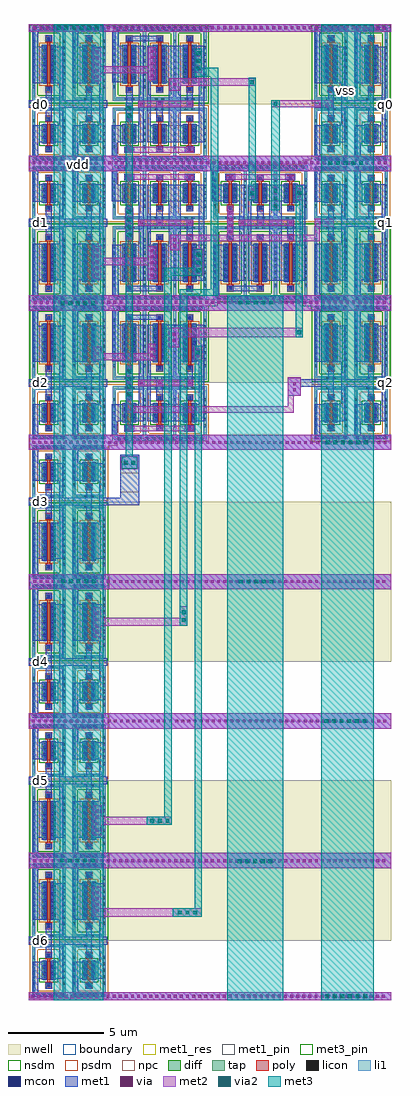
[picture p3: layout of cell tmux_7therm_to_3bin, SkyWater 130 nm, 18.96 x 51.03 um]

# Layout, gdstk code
import gdstk
lib = gdstk.Library(unit=1e-6, precision=1e-09)
def R(c, l, rs):  # rectangles x0, y0, x1, y1
    for r in rs: c.add(gdstk.rectangle(r[:2], r[2:], *l))
def A(c, l, x, y, w, h, nx, ny, dx, dy):  # array of equal rectangles
    R(c, l, [(x+i*dx, y+j*dy, x+i*dx+w, y+j*dy+h) for i in range(nx) for j in range(ny)])
nwell = (64, 20)
diff = (65, 20)
tap = (65, 44)
poly = (66, 20)
licon = (66, 44)
li1 = (67, 20)
mcon = (67, 44)
met1_res = (68, 13)
met1_pin = (68, 16)
met1 = (68, 20)
via = (68, 44)
met2 = (69, 20)
via2 = (69, 44)
met3_pin = (70, 16)
met3 = (70, 20)
nsdm = (93, 44)
psdm = (94, 20)
npc = (95, 20)
boundary = (235, 4)

sky130_fd_pr__pfet_01v8_ = lib.new_cell('sky130_fd_pr__pfet_01v8_A6MZLZ')
R(sky130_fd_pr__pfet_01v8_, nwell, [(-1.055,-2.095,1.055,2.095)])
R(sky130_fd_pr__pfet_01v8_, diff, [(-0.365,-1,0.365,1)])
R(sky130_fd_pr__pfet_01v8_, tap, [(-0.875,-1.915,0.875,-1.745), (-0.875,-1.745,-0.705,1.745), (0.705,-1.745,0.875,1.745), (-0.875,1.745,0.875,1.915)])
R(sky130_fd_pr__pfet_01v8_, poly, [(-0.165,-1.485,0.165,-1.155), (-0.075,-1.155,0.075,1.155), (-0.165,1.155,0.165,1.485)])
A(sky130_fd_pr__pfet_01v8_, licon, -0.875, -1.275, 0.17, 0.17, 1, 8, 0, 0.34)
A(sky130_fd_pr__pfet_01v8_, licon, 0.705, -1.275, 0.17, 0.17, 1, 8, 0, 0.34)
A(sky130_fd_pr__pfet_01v8_, licon, -0.305, -0.935, 0.17, 0.17, 1, 6, 0, 0.34)
A(sky130_fd_pr__pfet_01v8_, licon, 0.135, -0.935, 0.17, 0.17, 1, 6, 0, 0.34)
R(sky130_fd_pr__pfet_01v8_, licon, [(-0.255,-1.915,-0.085,-1.745), (0.085,-1.915,0.255,-1.745), (-0.085,-1.405,0.085,-1.235), (-0.085,1.235,0.085,1.405), (-0.255,1.745,-0.085,1.915), (0.085,1.745,0.255,1.915)])
R(sky130_fd_pr__pfet_01v8_, li1, [(-0.875,-1.915,0.875,-1.745), (-0.875,-1.745,-0.705,1.745), (0.705,-1.745,0.875,1.745), (-0.165,-1.405,0.165,-1.235), (-0.305,-1.02,-0.135,1.02), (0.135,-1.02,0.305,1.02), (-0.165,1.235,0.165,1.405), (-0.875,1.745,0.875,1.915)])
A(sky130_fd_pr__pfet_01v8_, mcon, -0.305, -0.805, 0.17, 0.17, 1, 5, 0, 0.36)
A(sky130_fd_pr__pfet_01v8_, mcon, 0.135, -0.805, 0.17, 0.17, 1, 5, 0, 0.36)
R(sky130_fd_pr__pfet_01v8_, mcon, [(-0.085,-1.405,0.085,-1.235), (-0.085,1.235,0.085,1.405)])
R(sky130_fd_pr__pfet_01v8_, met1, [(-0.145,-1.435,0.145,-1.205), (-0.335,-1,-0.105,1), (0.105,-1,0.335,1), (-0.145,1.205,0.145,1.435)])
R(sky130_fd_pr__pfet_01v8_, nsdm, [(-1,-2.04,1,-1.62), (-1,-1.62,-0.58,1.62), (0.58,-1.62,1,1.62), (-1,1.62,1,2.04)])
R(sky130_fd_pr__pfet_01v8_, psdm, [(-0.49,-1.125,0.49,1.125)])
R(sky130_fd_pr__pfet_01v8_, npc, [(-0.185,-1.505,0.185,-1.135), (-0.185,1.135,0.185,1.505)])
R(sky130_fd_pr__pfet_01v8_, boundary, [(-0.79,-1.83,0.79,1.83)])
sky130_fd_pr__pfet_01v8_.add(gdstk.Label('B', (0,-1.83), layer=67, texttype=5))
sky130_fd_pr__pfet_01v8_.add(gdstk.Label('D', (-0.22,0), layer=67, texttype=5))
sky130_fd_pr__pfet_01v8_.add(gdstk.Label('S', (0.22,0), layer=67, texttype=5))
sky130_fd_pr__pfet_01v8_.add(gdstk.Label('G', (0,1.32), layer=67, texttype=5))

sky130_fd_pr__nfet_01v8_ = lib.new_cell('sky130_fd_pr__nfet_01v8_MH3LLV')
R(sky130_fd_pr__nfet_01v8_, diff, [(-0.365,-0.5,0.365,0.5)])
R(sky130_fd_pr__nfet_01v8_, tap, [(-0.875,-1.37,0.875,-1.2), (-0.875,-1.2,-0.705,1.2), (0.705,-1.2,0.875,1.2), (-0.875,1.2,0.875,1.37)])
R(sky130_fd_pr__nfet_01v8_, poly, [(-0.165,-0.94,0.165,-0.61), (-0.075,-0.61,0.075,0.61), (-0.165,0.61,0.165,0.94)])
A(sky130_fd_pr__nfet_01v8_, licon, -0.875, -0.765, 0.17, 0.17, 1, 5, 0, 0.34)
A(sky130_fd_pr__nfet_01v8_, licon, 0.705, -0.765, 0.17, 0.17, 1, 5, 0, 0.34)
A(sky130_fd_pr__nfet_01v8_, licon, -0.305, -0.425, 0.17, 0.17, 1, 3, 0, 0.34)
A(sky130_fd_pr__nfet_01v8_, licon, 0.135, -0.425, 0.17, 0.17, 1, 3, 0, 0.34)
R(sky130_fd_pr__nfet_01v8_, licon, [(-0.255,-1.37,-0.085,-1.2), (0.085,-1.37,0.255,-1.2), (-0.085,-0.86,0.085,-0.69), (-0.085,0.69,0.085,0.86), (-0.255,1.2,-0.085,1.37), (0.085,1.2,0.255,1.37)])
R(sky130_fd_pr__nfet_01v8_, li1, [(-0.875,-1.37,0.875,-1.2), (-0.875,-1.2,-0.705,1.2), (0.705,-1.2,0.875,1.2), (-0.165,-0.86,0.165,-0.69), (-0.305,-0.52,-0.135,0.52), (0.135,-0.52,0.305,0.52), (-0.165,0.69,0.165,0.86), (-0.875,1.2,0.875,1.37)])
R(sky130_fd_pr__nfet_01v8_, mcon, [(-0.085,-0.86,0.085,-0.69), (-0.305,-0.265,-0.135,-0.095), (0.135,-0.265,0.305,-0.095), (-0.305,0.095,-0.135,0.265), (0.135,0.095,0.305,0.265), (-0.085,0.69,0.085,0.86)])
R(sky130_fd_pr__nfet_01v8_, met1, [(-0.145,-0.89,0.145,-0.66), (-0.335,-0.5,-0.105,0.5), (0.105,-0.5,0.335,0.5), (-0.145,0.66,0.145,0.89)])
R(sky130_fd_pr__nfet_01v8_, nsdm, [(-0.49,-0.625,0.49,0.625)])
R(sky130_fd_pr__nfet_01v8_, psdm, [(-1,-1.495,1,-1.075), (-1,-1.075,-0.58,1.075), (0.58,-1.075,1,1.075), (-1,1.075,1,1.495)])
R(sky130_fd_pr__nfet_01v8_, npc, [(-0.185,-0.96,0.185,-0.59), (-0.185,0.59,0.185,0.96)])
R(sky130_fd_pr__nfet_01v8_, boundary, [(-0.79,-1.285,0.79,1.285)])
sky130_fd_pr__nfet_01v8_.add(gdstk.Label('B', (0,-1.285), layer=67, texttype=5))
sky130_fd_pr__nfet_01v8_.add(gdstk.Label('D', (-0.22,0), layer=67, texttype=5))
sky130_fd_pr__nfet_01v8_.add(gdstk.Label('S', (0.22,0), layer=67, texttype=5))
sky130_fd_pr__nfet_01v8_.add(gdstk.Label('G', (0,0.775), layer=67, texttype=5))

inv = lib.new_cell('inv')
R(inv, li1, [(0.1,-0.05,1.8,0.15), (0.1,6.75,1.8,6.95)])
A(inv, mcon, 0.145, -0.035, 0.17, 0.17, 5, 2, 0.36, 6.8)
R(inv, met1_pin, [(-0.1,-0.2,2,0.2), (0.1,2.7,1.1,3.1), (1.5,2.7,1.8,3.1), (-0.1,6.7,0.1,7.09)])
R(inv, met1, [(-0.1,-0.2,2.01,0.2), (0.1,0.2,0.4,0.9), (0.8,0.4,1.1,0.7), (0.1,0.9,0.8,1.8), (1.1,0.9,1.7,1.8), (1.5,1.8,1.7,2.7), (0.8,2,1.1,2.7), (0.1,2.7,1.1,3.1), (1.5,2.7,1.8,3.1), (0.8,3.1,1.1,3.8), (1.5,3.1,1.7,4), (0.1,4,0.8,5.9), (1.1,4,1.7,5.9), (0.1,5.9,0.4,6.69), (0.8,6.2,1.1,6.5), (-0.1,6.69,2.01,7.09)])
inv.add(gdstk.Reference(sky130_fd_pr__pfet_01v8_, (0.955,4.995)))
inv.add(gdstk.Reference(sky130_fd_pr__nfet_01v8_, (0.955,1.35)))
inv.add(gdstk.Label('vin', (0.6,2.9), layer=68, texttype=5))
inv.add(gdstk.Label('vout', (1.65,2.9), layer=68, texttype=5))
inv.add(gdstk.Label('vdd', (0,6.895), layer=68, texttype=5))
inv.add(gdstk.Label('vss', (0.95,0), layer=68, texttype=5))

buffer = lib.new_cell('buffer')
R(buffer, met1_pin, [(-1.1,0.1,3.1,0.5), (-0.9,3,-0.5,3.4), (2.6,3,3,3.4), (-1.1,7,3.1,7.39)])
R(buffer, met1, [(-1.1,0.1,3.11,0.5), (-0.9,3,-0.5,3.4), (0.8,3,1.2,3.4), (2.6,3,3,3.4), (-1.1,6.99,3.11,7.39)])
R(buffer, nsdm, [(0.955,3.255,1.055,7.335)])
R(buffer, psdm, [(0.955,0.155,1.055,3.145)])
buffer.add(gdstk.Reference(inv, (1.1,0.3)))
buffer.add(gdstk.Reference(inv, (-1,0.3)))
buffer.add(gdstk.Label('in', (-0.7,3.2), layer=68, texttype=5))
buffer.add(gdstk.Label('out', (2.8,3.2), layer=68, texttype=5))
buffer.add(gdstk.Label('vdd', (1,7.195), layer=68, texttype=5))
buffer.add(gdstk.Label('vss', (1,0.3), layer=68, texttype=5))

sky130_fd_pr__res_generi = lib.new_cell('sky130_fd_pr__res_generic_m1_SPQYYJ')
R(sky130_fd_pr__res_generi, met1_res, [(-0.5,-0.5,0.5,0.5)])
R(sky130_fd_pr__res_generi, met1, [(-0.5,-0.785,0.5,0.785)])
sky130_fd_pr__res_generi.add(gdstk.Label('R1', (0,0.7), layer=68, texttype=5))
sky130_fd_pr__res_generi.add(gdstk.Label('R2', (0,-0.7), layer=68, texttype=5))

tmux_2to1 = lib.new_cell('tmux_2to1')
R(tmux_2to1, li1, [(0.69,-2.83,5.53,-2.66), (0.64,4.01,5.48,4.18)])
A(tmux_2to1, mcon, 0.865, -2.83, 0.17, 0.17, 13, 1, 0.36, 0)
A(tmux_2to1, mcon, 0.815, 4.01, 0.17, 0.17, 13, 1, 0.36, 0)
R(tmux_2to1, met1_pin, [(0.43,-2.93,0.61,-2.6), (3.2,-1.82,4.51,-0.94), (1.32,-0.71,1.65,1.05), (4.78,1.32,5.4,3.21), (2.41,1.33,2.93,3.21), (0.43,4.18,5.7,4.36)])
R(tmux_2to1, met1, [(0.43,-2.93,5.7,-2.53), (0.56,-2.53,0.85,-1.82), (1.22,-2.38,1.75,-2.05), (4.37,-2.38,4.9,-2.05), (2.9,-2.32,3.23,-2.05), (0.56,-1.82,1.35,-0.94), (1.62,-1.82,2.23,-0.94), (2.41,-1.82,2.93,-0.94), (3.2,-1.82,4.51,-0.94), (4.78,-1.82,5.4,-0.94), (1.97,-0.94,2.23,-0.01), (2.41,-0.94,2.59,1.33), (3.54,-0.94,4.17,1.32), (5.12,-0.94,5.4,1.32), (2.9,-0.72,3.23,0.33), (1.32,-0.71,1.65,1.05), (4.48,-0.7,4.81,-0.44), (1.94,-0.01,2.27,0.34), (4.48,0.01,4.81,1.06), (1.97,0.34,2.23,1.33), (2.9,0.78,3.23,1.06), (0.59,1.32,1.35,3.21), (3.2,1.32,4.51,3.21), (4.78,1.32,5.4,3.21), (1.62,1.33,2.23,3.21), (2.41,1.33,2.93,3.21), (0.59,3.21,0.92,3.96), (1.32,3.47,3.23,3.75), (4.48,3.48,4.81,3.75), (0.43,3.96,5.7,4.36)])
R(tmux_2to1, via, [(4.565,-2.295,4.715,-2.145), (1.405,-2.285,1.555,-2.135), (2.035,0.095,2.185,0.245), (4.57,0.105,4.72,0.255), (2.99,0.11,3.14,0.26)])
R(tmux_2to1, met2, [(1.27,-2.36,4.85,-2.07), (1.94,0.01,4.83,0.34)])
tmux_2to1.add(gdstk.Reference(sky130_fd_pr__nfet_01v8_, (4.645,-1.38)))
tmux_2to1.add(gdstk.Reference(sky130_fd_pr__pfet_01v8_, (4.645,2.265)))
tmux_2to1.add(gdstk.Reference(sky130_fd_pr__nfet_01v8_, (3.065,-1.38)))
tmux_2to1.add(gdstk.Reference(sky130_fd_pr__pfet_01v8_, (3.065,2.265)))
tmux_2to1.add(gdstk.Reference(sky130_fd_pr__nfet_01v8_, (1.485,-1.38)))
tmux_2to1.add(gdstk.Reference(sky130_fd_pr__pfet_01v8_, (1.485,2.265)))
tmux_2to1.add(gdstk.Label('A', (2.67,2.27), layer=68, texttype=5))
tmux_2to1.add(gdstk.Label('B', (5.09,2.265), layer=68, texttype=5))
tmux_2to1.add(gdstk.Label('S', (1.485,0.17), layer=68, texttype=5))
tmux_2to1.add(gdstk.Label('Y', (3.855,-1.38), layer=68, texttype=5))
tmux_2to1.add(gdstk.Label('vdd', (3.065,4.27), layer=68, texttype=5))
tmux_2to1.add(gdstk.Label('vss', (0.52,-2.765), layer=68, texttype=5))

tmux_7therm_to_3bin = lib.new_cell('tmux_7therm_to_3bin')
R(tmux_7therm_to_3bin, nwell, [(4,-40.63,18.75,-32.25), (4,-26.05,18.75,-17.67), (9.27,-11.47,14.54,-7.28), (15.3,-7.51,17.55,-6.97), (9.27,3.11,14.54,7.3)])
R(tmux_7therm_to_3bin, met1_pin, [(-0.21,-40.83,0.99,-40.43), (-0.21,-32.45,0.99,-32.05), (-0.21,-26.25,0.99,-25.85), (-0.21,-17.87,0.99,-17.47), (-0.21,-11.67,0.99,-11.27), (18.24,-11.67,18.7,-11.27), (-0.21,-3.29,0.99,-2.89), (18.24,-3.29,18.7,-2.89), (-0.21,2.91,0.99,3.31), (18.24,2.91,18.7,3.31)])
A(tmux_7therm_to_3bin, met1, -0.21, -36.84, 18.96, 0.8, 1, 6, 0, 7.29)
R(tmux_7therm_to_3bin, met1, [(-0.21,-43.73,18.75,-43.33), (-0.21,-40.83,0.99,-40.43), (3.21,-39.29,3.52,-37.89), (3.21,-35.05,3.54,-33.63), (-0.21,-32.45,0.99,-32.05), (-0.21,-26.25,0.99,-25.85), (3.23,-24.71,3.52,-23.28), (-0.21,-17.87,0.99,-17.47), (3.49,-17.87,5.58,-17.47), (4.58,-17.47,5.58,-17.25), (4.58,-16.08,5.58,-15.22), (4.92,-12.25,5.19,-10.67), (13.33,-12.13,14.01,-11.67), (-0.21,-11.67,0.99,-11.27), (13.33,-11.67,14.86,-11.27), (18.24,-11.67,18.7,-11.27), (13.33,-11.27,14.01,-11.19), (6.06,-10.22,6.38,-9.48), (3.22,-10.2,3.56,-9.65), (8.49,-10.2,8.8,-9.56), (7.17,-9.5,7.64,-8.67), (6.08,-6.01,6.4,-4.37), (3.21,-5.98,3.53,-4.34), (8.48,-5.81,8.83,-4.53), (7.23,-4.5,7.62,-3.77), (4.9,-3.91,5.2,-2.33), (10.18,-3.7,10.46,-2.45), (-0.21,-3.29,0.99,-2.89), (18.24,-3.29,18.7,-2.89), (14.84,-3.22,15.63,-2.95), (12.53,-2.4,12.86,-1.26), (11.32,-1.87,11.61,-1.22), (13.79,-1.86,14.08,-1.21), (4.91,2.28,5.19,3.12), (-0.21,2.91,0.99,3.31), (18.24,2.91,18.7,3.31), (14.84,2.98,15.62,3.24), (7.23,3.88,7.62,4.39), (3.2,4.36,3.52,6), (6.08,4.41,6.4,6.05), (8.51,4.79,8.8,5.95), (-0.21,6.9,18.75,7.3)])
A(tmux_7therm_to_3bin, via, 1.35, -43.615, 0.15, 0.15, 7, 1, 0.32, 0)
A(tmux_7therm_to_3bin, via, -0.07, -43.6, 0.15, 0.15, 4, 1, 0.32, 0)
A(tmux_7therm_to_3bin, via, 3.86, -43.6, 0.15, 0.15, 46, 1, 0.32, 0)
A(tmux_7therm_to_3bin, via, 3.29, -39.145, 0.15, 0.15, 1, 4, 0, 0.32)
A(tmux_7therm_to_3bin, via, 0.04, -36.525, 0.15, 0.15, 58, 2, 0.32, 14.6)
A(tmux_7therm_to_3bin, via, 3.3, -34.895, 0.15, 0.15, 1, 4, 0, 0.32)
A(tmux_7therm_to_3bin, via, -0.04, -29.215, 0.15, 0.15, 4, 1, 0.32, 0)
A(tmux_7therm_to_3bin, via, 1.3, -29.215, 0.15, 0.15, 7, 1, 0.32, 0)
A(tmux_7therm_to_3bin, via, 3.61, -29.215, 0.15, 0.15, 47, 1, 0.32, 0)
A(tmux_7therm_to_3bin, via, 3.3, -24.55, 0.15, 0.15, 1, 4, 0, 0.32)
A(tmux_7therm_to_3bin, via, -0.025, -14.655, 0.15, 0.15, 4, 1, 0.32, 0)
A(tmux_7therm_to_3bin, via, 3.625, -14.655, 0.15, 0.15, 47, 1, 0.32, 0)
A(tmux_7therm_to_3bin, via, 1.31, -14.64, 0.15, 0.15, 7, 1, 0.32, 0)
A(tmux_7therm_to_3bin, via, 4.98, -12.175, 0.15, 0.15, 1, 5, 0, 0.32)
A(tmux_7therm_to_3bin, via, 0.06, -7.325, 0.15, 0.15, 58, 1, 0.32, 0)
A(tmux_7therm_to_3bin, via, 6.165, -5.905, 0.15, 0.15, 1, 5, 0, 0.32)
A(tmux_7therm_to_3bin, via, 3.295, -5.875, 0.15, 0.15, 1, 5, 0, 0.32)
A(tmux_7therm_to_3bin, via, 8.58, -5.725, 0.15, 0.15, 1, 4, 0, 0.32)
A(tmux_7therm_to_3bin, via, 4.97, -3.835, 0.15, 0.15, 1, 5, 0, 0.32)
A(tmux_7therm_to_3bin, via, 10.245, -3.63, 0.15, 0.15, 1, 4, 0, 0.32)
A(tmux_7therm_to_3bin, via, 12.62, -2.225, 0.15, 0.15, 1, 3, 0, 0.32)
A(tmux_7therm_to_3bin, via, 1.33, -0.045, 0.15, 0.15, 7, 1, 0.32, 0)
A(tmux_7therm_to_3bin, via, -0.01, -0.035, 0.15, 0.15, 4, 1, 0.32, 0)
A(tmux_7therm_to_3bin, via, 3.64, -0.035, 0.15, 0.15, 47, 1, 0.32, 0)
A(tmux_7therm_to_3bin, via, 3.285, 4.465, 0.15, 0.15, 1, 5, 0, 0.32)
A(tmux_7therm_to_3bin, via, 6.165, 4.515, 0.15, 0.15, 1, 5, 0, 0.32)
A(tmux_7therm_to_3bin, via, 8.58, 4.975, 0.15, 0.15, 1, 3, 0, 0.32)
A(tmux_7therm_to_3bin, via, 0.04, 7.03, 0.15, 0.15, 58, 1, 0.32, 0)
R(tmux_7therm_to_3bin, via, [(4.825,-15.72,4.975,-15.57), (5.145,-15.72,5.295,-15.57), (13.61,-11.905,13.76,-11.755), (13.61,-11.585,13.76,-11.435), (8.57,-10.115,8.72,-9.965), (6.145,-10.085,6.295,-9.935), (3.315,-10,3.465,-9.85), (8.57,-9.795,8.72,-9.645), (6.145,-9.765,6.295,-9.615), (7.33,-9.32,7.48,-9.17), (7.33,-9,7.48,-8.85), (7.35,-4.37,7.5,-4.22), (7.35,-4.05,7.5,-3.9), (15,-3.16,15.15,-3.01), (15.32,-3.16,15.47,-3.01), (11.39,-1.78,11.54,-1.63), (13.86,-1.77,14.01,-1.62), (11.39,-1.46,11.54,-1.31), (13.86,-1.45,14.01,-1.3), (4.975,2.465,5.125,2.615), (4.975,2.785,5.125,2.935), (14.995,3.035,15.145,3.185), (15.315,3.035,15.465,3.185), (7.35,4.06,7.5,4.21)])
A(tmux_7therm_to_3bin, met2, -0.21, -36.84, 18.96, 0.8, 1, 6, 0, 7.29)
R(tmux_7therm_to_3bin, met2, [(-0.21,-43.73,18.75,-43.33), (3.14,-39.37,8.83,-38.93), (3.14,-38.93,3.57,-37.82), (3.15,-35.12,3.6,-34.57), (3.15,-34.57,7.26,-34.15), (3.15,-34.15,3.6,-33.55), (3.17,-24.77,3.58,-24.15), (3.17,-24.15,8.07,-23.74), (3.17,-23.74,3.58,-23.2), (7.68,-23.74,8.07,-23.14), (4.61,-15.98,5.5,-15.31), (4.89,-13.03,13.66,-12.69), (4.89,-12.69,5.22,-10.59), (13.33,-12.69,13.66,-12.13), (13.33,-12.13,14.01,-11.18), (3.17,-10.27,6.42,-9.92), (8.43,-10.26,8.86,-9.51), (3.17,-9.92,3.61,-9.57), (6.03,-9.92,6.42,-9.43), (7.12,-9.59,7.7,-9.07), (7.12,-9.07,14.12,-8.57), (6.02,-6.05,6.45,-5.32), (3.15,-6.03,3.58,-5.32), (8.43,-5.87,8.88,-4.44), (3.15,-5.32,6.45,-4.92), (3.15,-4.92,3.58,-4.29), (6.02,-4.92,6.45,-4.31), (7.19,-4.54,7.66,-4.06), (7.19,-4.06,15.02,-3.73), (4.85,-3.97,5.25,-2.3), (10.16,-3.73,10.49,-2.21), (14.74,-3.73,15.02,-3.29), (14.74,-3.29,15.74,-2.89), (12.48,-2.45,12.92,-1.2), (4.9,-2.3,5.21,-2.28), (13.74,-1.91,14.13,-1.16), (11.27,-1.89,11.67,-1.19), (4.89,2.23,5.22,3.17), (12.48,2.94,15.66,3.32), (7.14,3.8,7.71,4.06), (7.14,4.06,11.67,4.46), (3.14,4.3,3.57,4.73), (6.04,4.36,6.44,4.73), (3.14,4.73,6.44,5.09), (8.46,4.74,8.85,6), (3.14,5.09,3.57,6.05), (6.04,5.09,6.44,6.09), (-0.21,6.9,18.75,7.3)])
A(tmux_7therm_to_3bin, via2, 15.285, -43.63, 0.2, 0.2, 6, 1, 0.4, 0)
A(tmux_7therm_to_3bin, via2, 7.595, -39.255, 0.2, 0.2, 3, 1, 0.4, 0)
A(tmux_7therm_to_3bin, via2, 10.725, -36.57, 0.2, 0.2, 5, 1, 0.4, 0)
A(tmux_7therm_to_3bin, via2, 1.435, -36.54, 0.2, 0.2, 5, 1, 0.4, 0)
A(tmux_7therm_to_3bin, via2, 6.15, -34.465, 0.2, 0.2, 3, 1, 0.4, 0)
A(tmux_7therm_to_3bin, via2, 15.25, -29.24, 0.2, 0.2, 6, 1, 0.4, 0)
A(tmux_7therm_to_3bin, via2, 10.785, -21.95, 0.2, 0.2, 5, 1, 0.4, 0)
A(tmux_7therm_to_3bin, via2, 1.495, -21.93, 0.2, 0.2, 5, 1, 0.4, 0)
A(tmux_7therm_to_3bin, via2, 15.32, -14.66, 0.2, 0.2, 6, 1, 0.4, 0)
A(tmux_7therm_to_3bin, via2, 4.95, -12.16, 0.2, 0.2, 1, 4, 0, 0.4)
A(tmux_7therm_to_3bin, via2, 1.455, -7.4, 0.2, 0.2, 5, 1, 0.4, 0)
A(tmux_7therm_to_3bin, via2, 10.755, -7.36, 0.2, 0.2, 5, 1, 0.4, 0)
A(tmux_7therm_to_3bin, via2, 8.555, -5.67, 0.2, 0.2, 1, 3, 0, 0.4)
A(tmux_7therm_to_3bin, via2, 4.945, -3.82, 0.2, 0.2, 1, 4, 0, 0.4)
A(tmux_7therm_to_3bin, via2, 12.595, -2.325, 0.2, 0.2, 1, 3, 0, 0.4)
A(tmux_7therm_to_3bin, via2, 15.465, -0.07, 0.2, 0.2, 5, 1, 0.4, 0)
A(tmux_7therm_to_3bin, via2, 8.555, 4.87, 0.2, 0.2, 1, 3, 0, 0.4)
A(tmux_7therm_to_3bin, via2, 1.255, 7, 0.2, 0.2, 6, 1, 0.4, 0)
R(tmux_7therm_to_3bin, via2, [(7.79,-23.96,7.99,-23.76), (7.79,-23.56,7.99,-23.36), (4.76,-15.745,4.96,-15.545), (5.16,-15.745,5.36,-15.545), (8.545,-9.98,8.745,-9.78), (13.83,-8.92,14.03,-8.72), (11.365,-1.645,11.565,-1.445), (13.835,-1.635,14.035,-1.435), (4.95,2.4,5.15,2.6), (4.95,2.8,5.15,3), (12.595,3.03,12.795,3.23), (11.37,4.16,11.57,4.36)])
R(tmux_7therm_to_3bin, met3_pin, [(1.09,-7.03,3.69,6.95), (15.08,0.3,17.68,7.3)])
R(tmux_7therm_to_3bin, met3, [(1.09,-43.73,3.69,7.3), (10.16,-43.73,13.11,-6.88), (15.08,-43.73,17.82,7.3), (7.33,-39.37,8.83,-38.93), (8.46,-38.93,8.83,-9.53), (5.97,-34.57,7.26,-34.15), (6.88,-34.15,7.26,-5.87), (7.68,-24.15,8.07,-6.9), (4.66,-15.95,5.46,-15.32), (4.87,-15.32,5.22,3.17), (13.75,-9.07,14.12,-1.17), (7.68,-6.9,9.71,-6.58), (9.32,-6.58,9.71,4.53), (6.88,-5.87,8.86,-5.45), (6.88,-5.45,7.26,-5.44), (8.43,-5.45,8.86,-4.49), (12.48,-2.44,12.92,3.32), (11.29,-1.91,11.67,4.49), (8.46,4.53,9.71,5.02), (8.46,5.02,8.85,6)])
A(tmux_7therm_to_3bin, nsdm, 3.945, -7.225, 0.11, 4.08, 3, 1, 5.27, 0)
R(tmux_7therm_to_3bin, nsdm, [(-0.155,-36.495,3.945,-36.385), (-0.155,-21.915,3.945,-21.805), (3.945,-11.415,4.055,-7.335), (9.215,-7.47,9.685,-7.335), (14.125,-7.47,14.595,-7.335), (-0.155,-7.335,9.685,-7.225), (14.125,-7.335,18.695,-7.225), (3.945,3.165,4.055,7.245)])
A(tmux_7therm_to_3bin, psdm, 3.945, -3.035, 0.11, 2.99, 3, 1, 5.27, 0)
R(tmux_7therm_to_3bin, psdm, [(-0.155,-29.205,3.945,-29.095), (3.945,-14.76,4.415,-14.625), (-0.155,-14.625,4.415,-14.515), (3.945,-14.515,4.055,-11.525), (-0.155,-0.045,9.685,0.065), (14.125,-0.045,18.695,0.065), (3.945,0.065,4.055,3.055), (9.215,0.065,9.685,0.2), (14.125,0.065,14.595,0.2)])
tmux_7therm_to_3bin.add(gdstk.Reference(buffer, (0.89,-29.05), x_reflection=True))
tmux_7therm_to_3bin.add(gdstk.Reference(buffer, (0.89,-43.83)))
tmux_7therm_to_3bin.add(gdstk.Reference(buffer, (0.89,-29.25)))
tmux_7therm_to_3bin.add(gdstk.Reference(buffer, (0.89,-14.47), x_reflection=True))
tmux_7therm_to_3bin.add(gdstk.Reference(buffer, (0.89,-14.67)))
tmux_7therm_to_3bin.add(gdstk.Reference(sky130_fd_pr__res_generi, (5.08,-16.675)))
tmux_7therm_to_3bin.add(gdstk.Reference(tmux_2to1, (3.57,-11.64)))
tmux_7therm_to_3bin.add(gdstk.Reference(buffer, (15.64,-14.67)))
tmux_7therm_to_3bin.add(gdstk.Reference(buffer, (0.89,0.11), x_reflection=True))
tmux_7therm_to_3bin.add(gdstk.Reference(tmux_2to1, (3.57,-2.92), x_reflection=True))
tmux_7therm_to_3bin.add(gdstk.Reference(buffer, (15.64,0.11), x_reflection=True))
tmux_7therm_to_3bin.add(gdstk.Reference(tmux_2to1, (8.84,-2.92), x_reflection=True))
tmux_7therm_to_3bin.add(gdstk.Reference(buffer, (0.89,-0.09)))
tmux_7therm_to_3bin.add(gdstk.Reference(tmux_2to1, (3.57,2.94)))
tmux_7therm_to_3bin.add(gdstk.Reference(buffer, (15.64,-0.09)))
tmux_7therm_to_3bin.add(gdstk.Label('d0', (0.39,3.11), layer=68, texttype=5))
tmux_7therm_to_3bin.add(gdstk.Label('d1', (0.39,-3.09), layer=68, texttype=5))
tmux_7therm_to_3bin.add(gdstk.Label('d2', (0.39,-11.47), layer=68, texttype=5))
tmux_7therm_to_3bin.add(gdstk.Label('d3', (0.39,-17.67), layer=68, texttype=5))
tmux_7therm_to_3bin.add(gdstk.Label('d4', (0.39,-26.05), layer=68, texttype=5))
tmux_7therm_to_3bin.add(gdstk.Label('d5', (0.39,-32.25), layer=68, texttype=5))
tmux_7therm_to_3bin.add(gdstk.Label('d6', (0.39,-40.63), layer=68, texttype=5))
tmux_7therm_to_3bin.add(gdstk.Label('q0', (18.47,3.11), layer=68, texttype=5))
tmux_7therm_to_3bin.add(gdstk.Label('q1', (18.47,-3.09), layer=68, texttype=5))
tmux_7therm_to_3bin.add(gdstk.Label('q2', (18.47,-11.47), layer=68, texttype=5))
tmux_7therm_to_3bin.add(gdstk.Label('vdd', (2.39,-0.04), layer=70, texttype=5))
tmux_7therm_to_3bin.add(gdstk.Label('vss', (16.38,3.8), layer=70, texttype=5))

lib.write_gds('tmux_7therm_to_3bin.gds')
